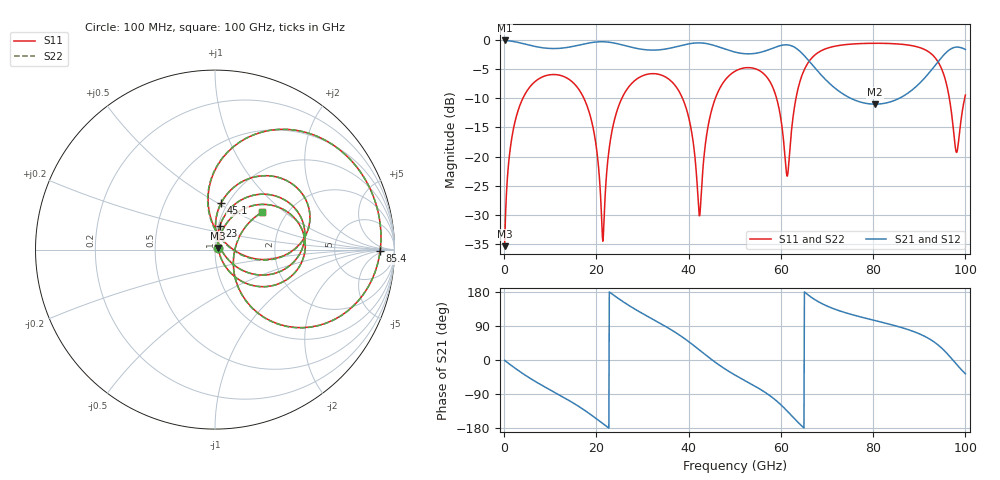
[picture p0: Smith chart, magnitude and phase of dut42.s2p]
! Touchstone file exported from HFSS 2026.1.0
!  File:  C:/ffzhzh/LocalFiles/Ansys_Project_Files/temp_train_TSV_RDL_42_1783619708_33328.aedt
!  Generated:  02:03:13 AM Jul 10, 2026
!  Design:  TSV_RDL
!  Project:  temp_train_TSV_RDL_42_1783619708_33328
! Variables:
!  h_bsmrdl = 2.32um
!  h_ox = 20um
!  h_rdl = 5um
!  h_sub = 51.71um
!  h_tmrdl = 4.57um
!  h_tsv = 51.71um
!  h_via = 3um
!  l_bsmrdl = 337.08um
!  l_sub = 2713.14um
!  l_tmrdl = 294.41um
!  m_sub = 200um
!  pitch = 47.91um
!  r_tsv = 10.93um
!  s_tmrdl = 10um
!  w_bsmrdl = 29.97um
!  w_sub = 500um
!  w_tmrdl = 11.45um
!  x_tsv_center1 = 300.135um
!  x_tsv_center2 = 667.185um
!  x_tsv_center3 = 973.045um
!  x_tsv_center4 = 1340.095um
!  x_tsv_center5 = 1645.955um
!  x_tsv_center6 = 2013.005um
# GHz S MA R 50.000000
! Terminal data exported
! Port[1] = TM_RDL1_1_T1
! Port[2] = TM_RDL5_1_T1
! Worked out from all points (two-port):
!   1000 points, 100 MHz to 100 GHz, reference 50 ohm
!   highest |S21| = -0.13 dB at 100 MHz (marker M1); lowest = -11.0 dB at 80.4 GHz (marker M2)
!   |S21| within 3 dB of the highest: start of sweep to 65.53 GHz; 94.74 GHz to end of sweep
!   lowest |S11| = -35.3 dB at 100 MHz (marker M3), VSWR 1.04, Z = 51.5 + j0.965 ohm
!   |S11| at or under -10 dB: 17.28 GHz to 25.53 GHz (8.246 GHz wide, 38.5 % of centre); 38.66 GHz to 45.8 GHz (7.134 GHz wide, 16.9 % of centre); 59.06 GHz to 63.27 GHz (4.21 GHz wide, 6.88 % of centre) (the widest 3 of 5)
!   |S22| runs from -35.3 to -0.6 dB; largest |S21 - S12| = 1.8e-14
!   S11 on the Smith chart (normalised r, x): 100 MHz: 1.03, +0.02; 23 GHz: 1.02, +0.28; 45.1 GHz: 0.93, +0.52; 85.4 GHz: 24, -3; 100 GHz: 1.51, +0.71
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0.1  0.0172 33.0  0.9857 -1.0  0.9857 -1.0  0.0172 33.0
! Gamma 0 0 0 0
! Port Impedance 50 0 50 0
1.6  0.1402 67.6  0.9717 -14.8  0.9717 -14.8  0.1402 67.6
4.6  0.3468 46.2  0.9165 -40.3  0.9165 -40.3  0.3468 46.2
16.8  0.3444 -36.8  0.91 -127.5  0.91 -127.5  0.3444 -36.9
19.6  0.1519 -56.4  0.9533 -151.4  0.9533 -151.4  0.1519 -56.6
21.3  0.02076 -12.6  0.9612 -166.8  0.9612 -166.8  0.02016 -13.8
23  0.1358 78.3  0.9493 177.7  0.9493 177.7  0.1356 78.5
33.4  0.5074 9.4  0.8183 99.7  0.8183 99.7  0.5074 9.4
39.3  0.2717 -30.9  0.9097 54.8  0.9097 54.8  0.2718 -31.0
42.3  0.03129 16.6  0.94 26.8  0.94 26.8  0.0314 16.3
45.1  0.2601 82.7  0.9035 0.1  0.9035 0.1  0.26 82.5
50.1  0.5391 47.9  0.7827 -40.1  0.7827 -40.1  0.5391 47.7
57.8  0.426 -1.3  0.8337 -95.7  0.8337 -95.7  0.4259 -1.7
61.4  0.06824 47.2  0.9039 -135.1  0.9039 -135.1  0.06516 47.0
63.6  0.3651 94.5  0.8287 -163.1  0.8287 -163.1  0.3642 94.9
66.7  0.6984 68.9  0.6167 164.6  0.6167 164.6  0.698 69.0
80.4  0.9326 13.7  0.2814 104.1  0.2814 104.1  0.9324 13.6
83.4  0.9286 5.4  0.2918 94.9  0.2918 94.9  0.9285 5.3
85.4  0.9198 -0.5  0.3122 88.3  0.3122 88.3  0.9197 -0.6
94.4  0.6141 -44.8  0.6725 36.4  0.6725 36.4  0.614 -44.9
98  0.1099 -16.9  0.8645 -10.3  0.8645 -10.3  0.1094 -17.1
100  0.3362 38.4  0.8261 -36.5  0.8261 -36.5  0.3361 38.3
